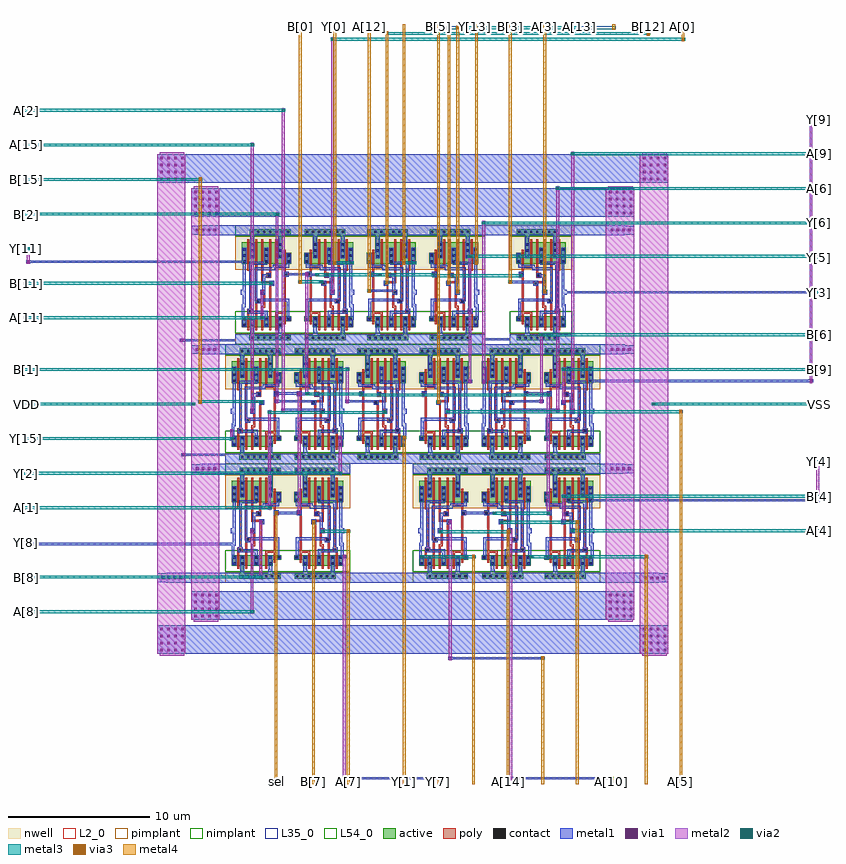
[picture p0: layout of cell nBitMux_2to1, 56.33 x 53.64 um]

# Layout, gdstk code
from math import pi, radians
import gdstk
lib = gdstk.Library(unit=1e-6, precision=1e-09)
def R(c, l, rs):  # rectangles x0, y0, x1, y1
    for r in rs: c.add(gdstk.rectangle(r[:2], r[2:], *l))
def A(c, l, x, y, w, h, nx, ny, dx, dy):  # array of equal rectangles
    R(c, l, [(x+i*dx, y+j*dy, x+i*dx+w, y+j*dy+h) for i in range(nx) for j in range(ny)])
def P(c, l, *ps):  # polygons
    for p in ps: c.add(gdstk.Polygon(p, *l))
L2_0 = (2, 0)
nwell = (3, 0)
active = (6, 0)
poly = (17, 0)
pimplant = (25, 0)
nimplant = (26, 0)
contact = (30, 0)
metal1 = (31, 0)
metal2 = (32, 0)
metal3 = (33, 0)
metal4 = (34, 0)
L35_0 = (35, 0)
via1 = (51, 0)
via2 = (52, 0)
via3 = (53, 0)
L54_0 = (54, 0)

adk_poly_m1 = lib.new_cell('ADK_poly_m1')
R(adk_poly_m1, poly, [(-0.175,-0.175,0.175,0.175)])
R(adk_poly_m1, contact, [(-0.08,-0.08,0.08,0.08)])
R(adk_poly_m1, metal1, [(-0.175,-0.175,0.175,0.175)])

mux21 = lib.new_cell('mux21')
R(mux21, L2_0, [(0,0,4.41,2.31)])
R(mux21, nwell, [(0,5.25,4.41,8.4)])
P(mux21, nwell, [(0,5.25),(4.41,5.25),(4.41,7.63),(0.575,7.63),(0.575,6.86),(0,6.86)])
R(mux21, active, [(0.5,0.28,3.405,0.63), (3.055,0.63,3.335,0.91), (3.09,0.91,3.335,1.19), (2.985,1.19,3.37,1.96), (3.02,1.19,3.93,1.96), (3.02,1.19,3.405,1.96), (3.545,1.19,3.93,1.96), (0.465,1.61,0.85,1.96), (0.465,5.67,0.85,6.44), (2.985,5.67,3.37,7.21), (3.02,5.67,3.93,7.21), (3.02,5.67,3.405,7.21), (3.545,5.67,3.93,7.21), (1.06,7.21,1.375,7.575), (3.055,7.21,3.335,7.575), (1.06,7.575,1.41,7.77), (3.02,7.575,3.37,7.77), (0.5,7.77,3.37,8.12)])
P(mux21, active, [(3.37,1.19),(3.37,1.96),(0.465,1.96),(0.465,1.61),(1.06,1.61),(1.06,1.19)],
  [(3.37,5.67),(3.37,7.21),(1.06,7.21),(1.06,6.44),(0.465,6.44),(0.465,5.67)])
R(mux21, poly, [(1.445,0.98,1.585,1.19), (1.865,0.98,2.005,1.19), (2.425,0.98,2.565,1.19), (2.845,0.98,2.985,1.19), (3.405,0.98,3.545,1.19), (1.445,1.19,1.585,1.96), (1.865,1.19,2.005,1.96), (2.425,1.19,2.565,1.96), (2.845,1.19,2.985,1.96), (3.405,1.19,3.545,1.96), (0.85,1.4,0.99,1.61), (0.85,1.61,0.99,1.96), (0.85,1.96,0.99,2.17), (1.445,1.96,1.585,2.17), (1.865,1.96,2.005,2.17), (2.425,1.96,2.565,2.17), (2.845,1.96,2.985,2.17), (3.405,1.96,3.545,2.17), (0.85,2.135,0.99,5.495), (0.99,2.135,1.585,2.275), (1.865,2.135,2.005,4.13), (2.845,2.135,2.985,5.495), (1.865,4.705,2.215,5.055), (1.865,4.705,2.005,5.495), (0.99,5.355,1.585,5.495), (0.85,5.46,0.99,5.67), (1.445,5.46,1.585,5.67), (1.865,5.46,2.005,5.67), (2.425,5.46,2.565,5.67), (2.845,5.46,2.985,5.67), (3.405,5.46,3.545,5.67), (0.85,5.67,0.99,6.44), (1.445,5.67,1.585,7.21), (1.865,5.67,2.005,7.21), (2.425,5.67,2.565,7.21), (2.845,5.67,2.985,7.21), (3.405,5.67,3.545,7.21), (0.85,6.44,0.99,6.65), (1.445,7.21,1.585,7.42), (1.865,7.21,2.005,7.42), (2.425,7.21,2.565,7.42), (2.845,7.21,2.985,7.42), (3.405,7.21,3.545,7.42)])
P(mux21, poly, [(2.285,2.565),(2.425,2.565),(2.425,2.03),(2.565,2.03),(2.565,2.705),(2.425,2.705),(2.425,3.745),(2.285,3.745)],
  [(2.005,4.32),(2.565,4.32),(2.565,5.495),(2.425,5.495),(2.425,4.46),(2.005,4.46)],
  [(3.255,2.35),(3.405,2.35),(3.405,2.03),(3.545,2.03),(3.545,2.49),(3.395,2.49),(3.395,5.175),(3.545,5.175),(3.545,5.6),(3.405,5.6),(3.405,5.315),(3.255,5.315)])
R(mux21, pimplant, [(0,0,4.41,0.77), (0,5.25,4.41,7.63)])
R(mux21, nimplant, [(0,0.77,4.41,2.31), (0,7.63,4.41,8.4)])
A(mux21, contact, 0.595, 0.375, 0.16, 0.16, 7, 2, 0.42, 7.49)
A(mux21, contact, 1.155, 1.285, 0.16, 0.16, 3, 2, 0.98, 0.42)
A(mux21, contact, 2.135, 5.765, 0.16, 0.16, 1, 3, 0, 0.42)
A(mux21, contact, 3.675, 5.765, 0.16, 0.16, 1, 3, 0, 0.42)
A(mux21, contact, 1.155, 6.115, 0.16, 0.16, 1, 3, 0, 0.42)
R(mux21, contact, [(3.115,1.285,3.275,1.445), (3.675,1.285,3.835,1.445), (0.56,1.705,0.72,1.865), (3.115,1.705,3.275,1.865), (3.675,1.705,3.835,1.865), (1.96,4.8,2.12,4.96), (0.56,5.765,0.72,5.925), (3.115,6.115,3.275,6.275), (3.115,6.115,3.275,6.275), (0.56,6.185,0.72,6.345), (3.115,6.535,3.275,6.695), (3.115,6.535,3.275,6.695), (3.115,6.955,3.275,7.115), (3.115,6.955,3.275,7.115)])
A(mux21, metal1, 1.095, 1.225, 0.28, 0.7, 3, 1, 0.98, 0)
R(mux21, metal1, [(0,0,4.41,0.7), (1.095,0.7,1.375,0.91), (3.055,0.7,3.335,0.91), (3.055,0.875,3.335,1.225), (1.095,0.91,1.34,1.225), (3.055,1.225,3.335,1.925), (3.615,1.225,3.895,1.925), (0.5,1.645,0.78,1.925), (2.285,3.5,2.635,3.85), (3.655,3.5,4.005,3.85), (1.655,4.13,2.005,4.48), (1.9,4.74,2.18,5.02), (0.64,4.76,0.99,5.11), (0.5,5.705,0.78,6.405), (2.075,5.705,2.355,6.825), (3.615,5.705,3.895,6.825), (1.095,6.055,1.375,7.175), (3.055,6.055,3.335,7.175), (3.055,6.055,3.335,7.175), (1.095,7.175,1.34,7.525), (3.055,7.175,3.335,7.525), (1.095,7.525,1.375,7.7), (3.055,7.525,3.335,7.7), (0,7.7,4.41,8.4)])
P(mux21, metal1, [(2.11,1.715),(2.32,1.715),(2.32,2.155),(3.43,2.155),(3.43,5.835),(2.355,5.835),(2.355,5.705),(2.145,5.705),(2.145,5.625),(3.22,5.625),(3.22,2.365),(2.11,2.365)],
  [(1.565,5.235),(2.84,5.235),(2.84,4.205),(3.04,4.205),(3.04,5.435),(1.765,5.435),(1.765,5.605),(1.565,5.605)],
  [(2.18,4.74),(2.285,4.74),(2.285,3.85),(2.495,3.85),(2.495,4.95),(2.18,4.95)],
  [(0.58,5.405),(1.765,5.405),(1.765,5.605),(0.78,5.605),(0.78,5.905),(0.58,5.905)],
  [(0.58,1.725),(0.78,1.725),(0.78,3.02),(3.04,3.02),(3.04,4.33),(2.84,4.33),(2.84,3.22),(0.58,3.22)],
  [(3.655,2.625),(3.75,2.625),(3.75,1.725),(3.95,1.725),(3.95,2.825),(3.855,2.825),(3.855,5.905),(3.655,5.905)])
mux21.add(gdstk.Reference(adk_poly_m1, (3.35,2.325), rotation=pi))
mux21.add(gdstk.Reference(adk_poly_m1, (2.81,3.05), rotation=pi))
mux21.add(gdstk.Reference(adk_poly_m1, (2.46,3.675), rotation=pi))
mux21.add(gdstk.Reference(adk_poly_m1, (1.83,4.305), rotation=pi))
mux21.add(gdstk.Reference(adk_poly_m1, (0.815,4.935), rotation=pi))
mux21.add(gdstk.Label('VDD', (2.205,8.05), layer=131, texttype=0))
mux21.add(gdstk.Label('VSS', (2.205,0.35), layer=131, texttype=0))
mux21.add(gdstk.Label('Y', (3.83,3.675), layer=131, texttype=0))
mux21.add(gdstk.Label('S0', (0.815,4.935), layer=131, texttype=0))
mux21.add(gdstk.Label('A1', (1.83,4.305), layer=131, texttype=0))
mux21.add(gdstk.Label('A0', (2.46,3.675), layer=131, texttype=0))

nbitmux_2to1 = lib.new_cell('nBitMux_2to1')
A(nbitmux_2to1, metal1, -2.38, 7.77, 2, 0.62, 1, 3, 0, 8.42)
A(nbitmux_2to1, metal1, 26.88, 7.77, 2, 0.62, 1, 3, 0, 8.42)
A(nbitmux_2to1, metal1, 8.835, 22.485, 0.21, 0.29, 3, 1, 4.41, 0)
R(nbitmux_2to1, metal1, [(8.285,-13.875,8.575,-13.665), (14.965,-13.875,15.255,-13.665), (20.03,-13.875,20.32,-13.665), (27.165,-13.875,27.455,-13.665), (8.35,-13.85,15.19,-13.69), (20.095,-13.85,27.39,-13.69), (15.755,-5.4,16.045,-5.19), (22.285,-5.4,22.575,-5.19), (15.82,-5.375,22.51,-5.215), (-4.78,-4.93,-2.78,-3.01), (29.28,-4.93,31.28,-3.01), (-2.38,-2.53,-0.38,-0.61), (26.88,-2.53,28.88,-0.61), (8.84,0.03,13.25,0.73), (-4.78,0.07,-2.78,0.69), (29.28,0.07,31.28,0.69), (8.285,1.755,8.575,1.965), (13.805,1.755,14.095,1.965), (21.515,1.755,21.805,1.965), (-14.03,2.67,-13.74,2.88), (-13.965,2.695,0.56,2.855), (1.81,3.53,2.02,3.82), (6.84,3.53,7.05,3.82), (15.085,3.53,15.375,3.74), (20.07,3.53,20.28,3.82), (24.415,3.6,24.705,3.81), (2.425,4.16,2.635,4.45), (6.155,4.16,6.365,4.45), (15.795,4.16,16.005,4.45), (19.455,4.16,19.665,4.45), (23.785,4.3,24.075,4.51), (3.51,4.79,3.72,5.08), (22.71,4.795,22.92,5.085), (18.915,4.835,19.205,5.045), (18.57,4.86,19.14,5.02), (3.71,4.885,5.15,5.045), (16.94,4.885,18.38,5.045), (5.1,4.93,5.39,5.14), (41.71,5.75,42,5.96), (25.845,5.775,41.935,5.935), (-3.065,8.965,-2.775,9.175), (-3,8.99,0.1,9.15), (7.995,10.175,8.285,10.385), (12.525,10.175,12.815,10.385), (0.365,10.595,0.575,10.885), (11.125,11.95,11.415,12.16), (15.66,11.95,15.87,12.24), (1.795,12.09,2.085,12.3), (24.415,12.09,24.705,12.3), (3.98,12.115,4.27,12.325), (23.34,12.115,23.63,12.325), (4.045,12.14,6.795,12.3), (19.705,12.14,23.565,12.3), (2.425,12.72,2.715,12.93), (14.935,12.72,15.225,12.93), (23.785,12.72,24.075,12.93), (3.535,12.745,3.825,12.955), (8.505,12.745,8.795,12.955), (22.2,12.745,22.49,12.955), (3.6,12.77,6.165,12.93), (8.57,12.77,10.575,12.93), (20.335,12.77,22.425,12.93), (13.89,13.145,14.1,13.435), (22.71,13.145,22.92,13.435), (5.14,13.21,5.35,13.5), (9.48,13.215,9.69,13.505), (5.685,13.255,5.975,13.465), (5.34,13.28,5.91,13.44), (3.71,13.305,5.15,13.465), (21.35,13.305,22.79,13.465), (18.165,14.065,18.375,14.355), (17.155,14.145,17.445,14.355), (17.025,14.17,17.38,14.33), (41.225,14.17,41.515,14.38), (25.845,14.195,41.45,14.355), (-3.17,17.045,-2.88,17.255), (-3.105,17.07,0.805,17.23), (18.285,17.14,20.195,17.3), (2.515,20.37,2.725,20.66), (41.71,20.44,42,20.65), (24.04,20.465,41.935,20.625), (7.48,20.51,7.77,20.72), (16.3,20.51,16.59,20.72), (22.43,20.51,22.72,20.72), (10.055,20.535,10.345,20.745), (10.12,20.56,11.91,20.72), (3.13,21.03,3.34,21.32), (11.3,21.14,11.59,21.35), (15.67,21.14,15.96,21.35), (19.99,21.16,20.28,21.37), (6.645,21.165,6.935,21.375), (20.055,21.185,21.85,21.345), (20.755,21.565,20.965,21.855), (14.595,21.635,14.805,21.925), (5.67,21.66,5.88,21.95), (6.39,21.675,6.68,21.885), (10.8,21.675,11.09,21.885), (6.045,21.7,6.615,21.86), (10.455,21.7,11.025,21.86), (4.415,21.725,5.855,21.885), (-14.03,22.59,-13.74,22.8), (-13.965,22.615,1.36,22.775), (18.365,24.57,20.115,25.27), (-2.38,25.87,28.88,27.87), (-2.38,25.91,-0.38,27.83), (26.88,25.91,28.88,27.83), (-4.78,28.27,31.28,30.27), (-4.78,28.31,-2.78,30.23), (29.28,28.31,31.28,30.23)])
A(nbitmux_2to1, metal2, -2.19, 7.58, 1.72, 1, 1, 3, 0, 8.42)
A(nbitmux_2to1, metal2, 27.07, 7.58, 1.72, 1, 1, 3, 0, 8.42)
R(nbitmux_2to1, metal2, [(8.325,-13.915,8.535,-13.625), (20.07,-13.915,20.28,-13.625), (14.965,-13.875,15.255,-13.665), (14.965,-13.875,15.255,-13.665), (27.165,-13.875,27.455,-13.665), (27.165,-13.875,27.455,-13.665), (8.33,-13.87,8.53,1.96), (20.075,-13.87,20.275,3.775), (15.795,-5.44,16.005,-5.15), (22.285,-5.4,22.575,-5.19), (22.285,-5.4,22.575,-5.19), (15.8,-5.395,16,4.405), (-4.59,-5.12,-2.87,-2.82), (29.47,-5.12,31.19,-2.82), (-4.78,-4.97,-2.78,30.27), (-2.19,-2.72,-0.47,-0.42), (27.07,-2.72,28.79,-0.42), (-2.38,-2.57,-0.38,27.87), (1.81,-2.155,2.02,-1.865), (1.815,-2.11,2.015,3.775), (-4.59,-0.12,-2.87,0.88), (29.47,-0.12,31.19,0.88), (2.425,0.29,2.635,0.58), (2.43,0.335,2.63,4.405), (8.325,1.715,8.535,2.005), (13.805,1.755,14.095,1.965), (13.805,1.755,14.095,1.965), (21.515,1.755,21.805,1.965), (21.515,1.755,21.805,1.965), (-14.03,2.67,-13.74,2.88), (-14.03,2.67,-13.74,2.88), (1.81,3.53,2.02,3.82), (6.84,3.53,7.05,3.82), (6.84,3.53,7.05,3.82), (15.085,3.53,15.375,3.74), (15.085,3.53,15.375,3.74), (20.07,3.53,20.28,3.82), (24.415,3.6,24.705,3.81), (24.415,3.6,24.705,3.81), (2.425,4.16,2.635,4.45), (6.155,4.16,6.365,4.45), (6.155,4.16,6.365,4.45), (15.795,4.16,16.005,4.45), (19.455,4.16,19.665,4.45), (19.455,4.16,19.665,4.45), (23.825,4.26,24.035,4.55), (23.83,4.305,24.03,6.245), (3.51,4.79,3.72,5.08), (3.51,4.79,3.72,5.08), (22.71,4.795,22.92,5.085), (22.71,4.795,22.92,5.085), (18.915,4.835,19.205,5.045), (18.915,4.835,19.205,5.045), (5.14,4.89,5.35,5.18), (5.145,4.935,5.345,13.455), (22.715,4.985,22.915,13.245), (3.05,5.175,3.26,5.465), (3.055,5.22,3.255,12.155), (41.75,5.71,41.96,6), (41.755,5.755,41.955,8.64), (23.825,6,24.035,6.29), (8.035,7.62,8.245,7.91), (8.04,7.665,8.24,10.38), (41.75,8.395,41.96,8.685), (-3.025,8.925,-2.815,9.215), (0.365,10.065,0.575,10.355), (0.37,10.11,0.57,10.84), (8.035,10.135,8.245,10.425), (12.525,10.175,12.815,10.385), (12.525,10.175,12.815,10.385), (0.365,10.595,0.575,10.885), (3.05,11.91,3.26,12.2), (11.125,11.95,11.415,12.16), (11.125,11.95,11.415,12.16), (15.66,11.95,15.87,12.24), (15.66,11.95,15.87,12.24), (1.835,12.05,2.045,12.34), (24.455,12.05,24.665,12.34), (4.02,12.075,4.23,12.365), (23.38,12.075,23.59,12.365), (1.84,12.095,2.04,31.035), (24.46,12.095,24.66,30.405), (4.025,12.12,4.225,33.475), (23.385,12.12,23.585,27.965), (-2.345,12.505,-2.135,12.795), (30.175,12.505,30.385,12.795), (23.825,12.68,24.035,12.97), (3.575,12.705,3.785,12.995), (8.545,12.705,8.755,12.995), (22.24,12.705,22.45,12.995), (2.425,12.72,2.715,12.93), (2.425,12.72,2.715,12.93), (14.935,12.72,15.225,12.93), (14.935,12.72,15.225,12.93), (23.83,12.725,24.03,15.19), (3.58,12.75,3.78,26.155), (8.55,12.75,8.75,15.19), (22.245,12.75,22.445,17.63), (13.89,13.145,14.1,13.435), (13.89,13.145,14.1,13.435), (22.71,13.145,22.92,13.435), (22.71,13.145,22.92,13.435), (5.14,13.21,5.35,13.5), (9.48,13.215,9.69,13.505), (9.48,13.215,9.69,13.505), (5.685,13.255,5.975,13.465), (5.685,13.255,5.975,13.465), (5.675,13.265,5.875,21.905), (18.165,14.065,18.375,14.355), (17.195,14.105,17.405,14.395), (18.17,14.11,18.37,25.525), (41.265,14.13,41.475,14.42), (17.2,14.15,17.4,23.185), (41.27,14.175,41.47,32.845), (8.545,14.945,8.755,15.235), (23.825,14.945,24.035,15.235), (-3.13,17.005,-2.92,17.295), (22.24,17.385,22.45,17.675), (2.515,18.59,2.725,18.88), (2.52,18.635,2.72,20.615), (2.515,20.37,2.725,20.66), (41.71,20.44,42,20.65), (41.71,20.44,42,20.65), (7.52,20.47,7.73,20.76), (16.3,20.51,16.59,20.72), (16.3,20.51,16.59,20.72), (22.43,20.51,22.72,20.72), (22.43,20.51,22.72,20.72), (7.525,20.515,7.725,38.485), (10.055,20.535,10.345,20.745), (10.055,20.535,10.345,20.745), (3.13,21.03,3.34,21.32), (3.13,21.03,3.34,21.32), (11.3,21.14,11.59,21.35), (11.3,21.14,11.59,21.35), (15.67,21.14,15.96,21.35), (15.67,21.14,15.96,21.35), (19.99,21.16,20.28,21.37), (19.99,21.16,20.28,21.37), (6.645,21.165,6.935,21.375), (6.645,21.165,6.935,21.375), (20.755,21.565,20.965,21.855), (20.755,21.565,20.965,21.855), (14.595,21.635,14.805,21.925), (14.595,21.635,14.805,21.925), (5.67,21.66,5.88,21.95), (6.39,21.675,6.68,21.885), (6.39,21.675,6.68,21.885), (10.8,21.675,11.09,21.885), (10.8,21.675,11.09,21.885), (8.835,22.485,9.045,22.775), (8.835,22.485,9.045,22.775), (13.245,22.485,13.455,22.775), (13.245,22.485,13.455,22.775), (17.655,22.485,17.865,22.775), (17.655,22.485,17.865,22.775), (-13.99,22.55,-13.78,22.84), (-13.985,22.595,-13.785,23.67), (17.195,22.94,17.405,23.23), (-13.99,23.425,-13.78,23.715), (18.165,25.28,18.375,25.57), (-2.19,25.72,-0.47,28.02), (27.07,25.72,28.79,28.02), (3.575,25.91,3.785,26.2), (23.38,27.72,23.59,28.01), (-4.59,28.12,-2.87,30.42), (29.47,28.12,31.19,30.42), (24.455,30.16,24.665,30.45), (1.835,30.79,2.045,31.08), (41.265,32.6,41.475,32.89), (4.02,33.23,4.23,33.52), (7.52,38.24,7.73,38.53)])
A(nbitmux_2to1, metal3, -14.18, -2.11, 0.4, 0.2, 1, 3, 0, 2.445)
A(nbitmux_2to1, metal3, 41.75, 3.605, 0.4, 0.2, 1, 3, 0, 2.44)
A(nbitmux_2to1, metal3, -14.18, 5.22, 0.4, 0.2, 1, 3, 0, 2.445)
A(nbitmux_2to1, metal3, -14.18, 18.635, 0.4, 0.2, 1, 7, 0, 2.44)
A(nbitmux_2to1, metal3, 41.75, 20.445, 0.4, 0.2, 1, 6, 0, 2.44)
R(nbitmux_2to1, metal3, [(14.965,-13.875,15.255,-13.665), (14.965,-13.875,15.255,-13.665), (27.165,-13.875,27.455,-13.665), (27.165,-13.875,27.455,-13.665), (22.285,-5.4,22.575,-5.19), (22.285,-5.4,22.575,-5.19), (1.77,-2.115,2.06,-1.905), (-13.88,-2.11,2.015,-1.91), (2.385,0.33,2.675,0.54), (-13.88,0.335,2.63,0.535), (13.805,1.755,14.095,1.965), (17.405,1.755,17.695,1.965), (21.515,1.755,21.805,1.965), (29.605,1.755,29.895,1.965), (13.85,1.76,17.65,1.96), (21.56,1.76,29.85,1.96), (-13.99,2.63,-13.78,2.92), (15.085,3.53,15.375,3.74), (19.845,3.53,20.135,3.74), (15.13,3.535,20.09,3.735), (6.8,3.57,7.09,3.78), (8.555,3.57,8.845,3.78), (6.845,3.575,8.8,3.775), (24.415,3.6,24.705,3.81), (24.46,3.605,41.85,3.805), (6.155,4.16,6.365,4.45), (6.155,4.16,6.365,4.45), (19.415,4.2,19.705,4.41), (24.725,4.2,25.015,4.41), (19.46,4.205,24.97,4.405), (3.51,4.79,3.72,5.08), (3.51,4.79,3.72,5.08), (18.915,4.835,19.205,5.045), (22.67,4.835,22.96,5.045), (18.96,4.84,22.915,5.04), (3.01,5.215,3.3,5.425), (-13.88,5.22,3.255,5.42), (23.785,6.04,24.075,6.25), (23.83,6.045,41.85,6.245), (7.995,7.66,8.285,7.87), (-13.88,7.665,8.24,7.865), (41.75,8.395,41.96,8.685), (0.325,10.105,0.615,10.315), (-13.88,10.11,0.57,10.31), (12.525,10.175,12.815,10.385), (12.525,10.175,12.815,10.385), (3.01,11.95,3.3,12.16), (11.125,11.95,11.415,12.16), (3.055,11.955,11.37,12.155), (15.62,11.99,15.91,12.2), (32.045,11.99,32.335,12.2), (15.665,11.995,32.29,12.195), (-14.18,12.43,-13.78,12.87), (41.75,12.43,42.15,12.87), (-2.385,12.545,-2.095,12.755), (30.135,12.545,30.425,12.755), (-13.88,12.55,-2.14,12.75), (30.18,12.55,41.85,12.75), (-1.885,12.72,-1.595,12.93), (2.425,12.72,2.715,12.93), (14.935,12.72,15.225,12.93), (14.935,12.72,15.225,12.93), (-1.84,12.725,2.67,12.925), (13.85,13.185,14.14,13.395), (22.67,13.185,22.96,13.395), (9.53,13.19,14.095,13.39), (14.04,13.19,22.915,13.39), (5.685,13.255,5.975,13.465), (9.44,13.255,9.73,13.465), (5.73,13.26,9.685,13.46), (8.505,14.985,8.795,15.195), (23.785,14.985,24.075,15.195), (-14.18,14.99,-13.78,15.19), (-13.88,14.99,8.75,15.19), (23.83,14.99,41.85,15.19), (41.75,14.99,42.15,15.19), (22.2,17.425,22.49,17.635), (22.245,17.43,41.85,17.63), (41.75,17.43,42.15,17.63), (2.475,18.63,2.765,18.84), (-13.88,18.635,2.72,18.835), (41.75,20.4,41.96,20.69), (16.3,20.51,16.59,20.72), (16.3,20.51,16.59,20.72), (22.43,20.51,22.72,20.72), (22.43,20.51,22.72,20.72), (10.055,20.535,10.345,20.745), (10.055,20.535,10.345,20.745), (3.09,21.07,3.38,21.28), (-13.88,21.075,3.335,21.275), (11.3,21.14,11.59,21.35), (11.3,21.14,11.59,21.35), (15.67,21.14,15.96,21.35), (15.67,21.14,15.96,21.35), (19.99,21.16,20.28,21.37), (19.99,21.16,20.28,21.37), (5.175,21.165,5.465,21.375), (6.645,21.165,6.935,21.375), (5.22,21.17,6.89,21.37), (20.715,21.605,21.005,21.815), (14.645,21.61,20.96,21.81), (6.39,21.675,6.68,21.885), (10.8,21.675,11.09,21.885), (14.555,21.675,14.845,21.885), (6.435,21.68,11.045,21.88), (10.845,21.68,14.8,21.88), (17.655,22.485,17.865,22.775), (17.655,22.485,17.865,22.775), (7.615,22.525,7.905,22.735), (8.795,22.525,9.085,22.735), (12.495,22.525,12.785,22.735), (13.205,22.525,13.495,22.735), (7.66,22.53,9.04,22.73), (12.54,22.53,13.45,22.73), (17.155,22.98,17.445,23.19), (17.2,22.985,41.95,23.185), (-13.99,23.425,-13.78,23.715), (18.125,25.32,18.415,25.53), (18.17,25.325,41.85,25.525), (3.535,25.95,3.825,26.16), (-13.88,25.955,3.78,26.155), (23.34,27.76,23.63,27.97), (23.385,27.765,41.85,27.965), (-1.885,28.39,-1.595,28.6), (-13.88,28.395,-1.64,28.595), (24.415,30.2,24.705,30.41), (24.46,30.205,41.85,30.405), (1.795,30.83,2.085,31.04), (-13.88,30.835,2.04,31.035), (41.225,32.64,41.515,32.85), (41.27,32.645,41.85,32.845), (3.98,33.27,4.27,33.48), (-13.88,33.275,4.225,33.475), (7.48,38.28,7.77,38.49), (32.19,38.28,32.48,38.49), (7.525,38.285,32.435,38.485), (11.3,38.695,11.59,38.905), (29.75,38.695,30.04,38.905), (11.345,38.7,29.995,38.9), (16.3,39.11,16.59,39.32), (24.865,39.11,25.155,39.32), (16.345,39.115,25.11,39.315)])
A(nbitmux_2to1, metal4, 12.57, -14.17, 0.2, 0.4, 9, 1, 2.44, 0)
A(nbitmux_2to1, metal4, 5.22, 39.07, 0.2, 0.4, 5, 1, 2.44, 0)
A(nbitmux_2to1, metal4, 17.595, 39.07, 0.2, 0.4, 7, 1, 2.44, 0)
R(nbitmux_2to1, metal4, [(3.515,-14.17,3.715,-13.77), (6.16,-14.17,6.36,-13.77), (8.6,-14.17,8.8,-13.77), (15.005,-13.915,15.215,-13.625), (27.205,-13.915,27.415,-13.625), (3.515,-13.87,3.715,5.035), (6.16,-13.87,6.36,4.405), (8.6,-13.87,8.8,3.775), (12.57,-13.87,12.77,10.38), (17.45,-13.87,17.65,1.96), (19.89,-13.87,20.09,3.735), (22.33,-13.87,22.53,-5.195), (24.77,-13.87,24.97,4.405), (29.65,-13.87,29.85,1.96), (32.09,-13.87,32.29,12.195), (22.325,-5.44,22.535,-5.15), (17.445,1.715,17.655,2.005), (29.645,1.715,29.855,2.005), (19.885,3.49,20.095,3.78), (8.595,3.53,8.805,3.82), (6.155,4.16,6.365,4.45), (24.765,4.16,24.975,4.45), (3.51,4.79,3.72,5.08), (12.565,10.135,12.775,10.425), (32.085,11.95,32.295,12.24), (-1.845,12.68,-1.635,12.97), (14.975,12.68,15.185,12.97), (-1.84,12.725,-1.64,28.595), (14.98,12.725,15.18,39.17), (16.34,20.47,16.55,20.76), (22.47,20.47,22.68,20.76), (10.095,20.495,10.305,20.785), (16.345,20.515,16.545,39.315), (22.475,20.515,22.675,39.17), (10.1,20.54,10.3,39.17), (11.34,21.1,11.55,21.39), (15.71,21.1,15.92,21.39), (20.03,21.12,20.24,21.41), (5.215,21.125,5.425,21.415), (11.345,21.145,11.545,38.9), (15.715,21.145,15.915,39.315), (20.035,21.165,20.235,39.17), (5.22,21.17,5.42,39.17), (7.655,22.485,7.865,22.775), (12.535,22.485,12.745,22.775), (17.655,22.485,17.865,22.775), (7.66,22.53,7.86,39.17), (12.54,22.53,12.74,39.17), (17.66,22.53,17.86,39.27), (-1.845,28.35,-1.635,28.64), (32.23,38.24,32.44,38.53), (32.235,38.285,32.435,39.17), (11.34,38.655,11.55,38.945), (29.79,38.655,30,38.945), (29.795,38.7,29.995,39.17), (15.71,39.07,15.92,39.36), (16.34,39.07,16.55,39.36), (24.905,39.07,25.115,39.36), (27.345,39.07,27.555,39.36)])
R(nbitmux_2to1, L35_0, [(15.67,39.11,15.96,39.32), (27.305,39.11,27.595,39.32), (15.715,39.115,27.55,39.315)])
A(nbitmux_2to1, via1, -4.56, -4.8, 0.19, 0.19, 4, 4, 0.49, 0.49)
A(nbitmux_2to1, via1, 29.5, -4.8, 0.19, 0.19, 4, 4, 0.49, 0.49)
A(nbitmux_2to1, via1, -2.16, -2.4, 0.19, 0.19, 4, 4, 0.49, 0.49)
A(nbitmux_2to1, via1, 27.1, -2.4, 0.19, 0.19, 4, 4, 0.49, 0.49)
A(nbitmux_2to1, via1, -4.44, 0.285, 0.19, 0.19, 4, 1, 0.41, 0)
A(nbitmux_2to1, via1, 29.62, 0.285, 0.19, 0.19, 4, 1, 0.41, 0)
A(nbitmux_2to1, via1, -2.04, 7.985, 0.19, 0.19, 4, 3, 0.41, 8.42)
A(nbitmux_2to1, via1, 27.22, 7.985, 0.19, 0.19, 4, 3, 0.41, 8.42)
A(nbitmux_2to1, via1, 8.845, 22.535, 0.19, 0.19, 3, 1, 4.41, 0)
A(nbitmux_2to1, via1, -2.16, 26.04, 0.19, 0.19, 4, 4, 0.49, 0.49)
A(nbitmux_2to1, via1, 27.1, 26.04, 0.19, 0.19, 4, 4, 0.49, 0.49)
A(nbitmux_2to1, via1, -4.56, 28.44, 0.19, 0.19, 4, 4, 0.49, 0.49)
A(nbitmux_2to1, via1, 29.5, 28.44, 0.19, 0.19, 4, 4, 0.49, 0.49)
R(nbitmux_2to1, via1, [(8.335,-13.865,8.525,-13.675), (15.015,-13.865,15.205,-13.675), (20.08,-13.865,20.27,-13.675), (27.215,-13.865,27.405,-13.675), (15.805,-5.39,15.995,-5.2), (22.335,-5.39,22.525,-5.2), (8.335,1.765,8.525,1.955), (13.855,1.765,14.045,1.955), (21.565,1.765,21.755,1.955), (-13.98,2.68,-13.79,2.87), (15.135,3.54,15.325,3.73), (1.82,3.58,2.01,3.77), (6.85,3.58,7.04,3.77), (20.08,3.58,20.27,3.77), (24.465,3.61,24.655,3.8), (2.435,4.21,2.625,4.4), (6.165,4.21,6.355,4.4), (15.805,4.21,15.995,4.4), (19.465,4.21,19.655,4.4), (23.835,4.31,24.025,4.5), (3.52,4.84,3.71,5.03), (18.965,4.845,19.155,5.035), (22.72,4.845,22.91,5.035), (5.15,4.94,5.34,5.13), (41.76,5.76,41.95,5.95), (-3.015,8.975,-2.825,9.165), (8.045,10.185,8.235,10.375), (12.575,10.185,12.765,10.375), (0.375,10.645,0.565,10.835), (11.175,11.96,11.365,12.15), (15.67,12,15.86,12.19), (1.845,12.1,2.035,12.29), (24.465,12.1,24.655,12.29), (4.03,12.125,4.22,12.315), (23.39,12.125,23.58,12.315), (2.475,12.73,2.665,12.92), (14.985,12.73,15.175,12.92), (23.835,12.73,24.025,12.92), (3.585,12.755,3.775,12.945), (8.555,12.755,8.745,12.945), (22.25,12.755,22.44,12.945), (13.9,13.195,14.09,13.385), (22.72,13.195,22.91,13.385), (5.15,13.26,5.34,13.45), (5.735,13.265,5.925,13.455), (9.49,13.265,9.68,13.455), (18.175,14.115,18.365,14.305), (17.205,14.155,17.395,14.345), (41.275,14.18,41.465,14.37), (-3.12,17.055,-2.93,17.245), (2.525,20.42,2.715,20.61), (41.76,20.45,41.95,20.64), (7.53,20.52,7.72,20.71), (16.35,20.52,16.54,20.71), (22.48,20.52,22.67,20.71), (10.105,20.545,10.295,20.735), (3.14,21.08,3.33,21.27), (11.35,21.15,11.54,21.34), (15.72,21.15,15.91,21.34), (20.04,21.17,20.23,21.36), (6.695,21.175,6.885,21.365), (20.765,21.615,20.955,21.805), (6.44,21.685,6.63,21.875), (10.85,21.685,11.04,21.875), (14.605,21.685,14.795,21.875), (5.68,21.71,5.87,21.9), (-13.98,22.6,-13.79,22.79)])
A(nbitmux_2to1, via2, 8.845, 22.535, 0.19, 0.19, 3, 1, 4.41, 0)
R(nbitmux_2to1, via2, [(15.015,-13.865,15.205,-13.675), (27.215,-13.865,27.405,-13.675), (22.335,-5.39,22.525,-5.2), (1.82,-2.105,2.01,-1.915), (2.435,0.34,2.625,0.53), (13.855,1.765,14.045,1.955), (21.565,1.765,21.755,1.955), (-13.98,2.68,-13.79,2.87), (15.135,3.54,15.325,3.73), (6.85,3.58,7.04,3.77), (24.465,3.61,24.655,3.8), (6.165,4.21,6.355,4.4), (19.465,4.21,19.655,4.4), (3.52,4.84,3.71,5.03), (18.965,4.845,19.155,5.035), (22.72,4.845,22.91,5.035), (3.06,5.225,3.25,5.415), (23.835,6.05,24.025,6.24), (8.045,7.67,8.235,7.86), (41.76,8.445,41.95,8.635), (0.375,10.115,0.565,10.305), (12.575,10.185,12.765,10.375), (3.06,11.96,3.25,12.15), (11.175,11.96,11.365,12.15), (15.67,12,15.86,12.19), (-2.335,12.555,-2.145,12.745), (30.185,12.555,30.375,12.745), (2.475,12.73,2.665,12.92), (14.985,12.73,15.175,12.92), (13.9,13.195,14.09,13.385), (22.72,13.195,22.91,13.385), (5.735,13.265,5.925,13.455), (9.49,13.265,9.68,13.455), (8.555,14.995,8.745,15.185), (23.835,14.995,24.025,15.185), (22.25,17.435,22.44,17.625), (2.525,18.64,2.715,18.83), (41.76,20.45,41.95,20.64), (16.35,20.52,16.54,20.71), (22.48,20.52,22.67,20.71), (10.105,20.545,10.295,20.735), (3.14,21.08,3.33,21.27), (11.35,21.15,11.54,21.34), (15.72,21.15,15.91,21.34), (20.04,21.17,20.23,21.36), (6.695,21.175,6.885,21.365), (20.765,21.615,20.955,21.805), (6.44,21.685,6.63,21.875), (10.85,21.685,11.04,21.875), (14.605,21.685,14.795,21.875), (17.205,22.99,17.395,23.18), (-13.98,23.475,-13.79,23.665), (18.175,25.33,18.365,25.52), (3.585,25.96,3.775,26.15), (23.39,27.77,23.58,27.96), (24.465,30.21,24.655,30.4), (1.845,30.84,2.035,31.03), (41.275,32.65,41.465,32.84), (4.03,33.28,4.22,33.47), (7.53,38.29,7.72,38.48)])
R(nbitmux_2to1, via3, [(15.015,-13.865,15.205,-13.675), (27.215,-13.865,27.405,-13.675), (22.335,-5.39,22.525,-5.2), (17.455,1.765,17.645,1.955), (29.655,1.765,29.845,1.955), (19.895,3.54,20.085,3.73), (8.605,3.58,8.795,3.77), (6.165,4.21,6.355,4.4), (24.775,4.21,24.965,4.4), (3.52,4.84,3.71,5.03), (12.575,10.185,12.765,10.375), (32.095,12,32.285,12.19), (-1.835,12.73,-1.645,12.92), (14.985,12.73,15.175,12.92), (16.35,20.52,16.54,20.71), (22.48,20.52,22.67,20.71), (10.105,20.545,10.295,20.735), (11.35,21.15,11.54,21.34), (15.72,21.15,15.91,21.34), (20.04,21.17,20.23,21.36), (5.225,21.175,5.415,21.365), (7.665,22.535,7.855,22.725), (12.545,22.535,12.735,22.725), (17.665,22.535,17.855,22.725), (-1.835,28.4,-1.645,28.59), (32.24,38.29,32.43,38.48), (11.35,38.705,11.54,38.895), (29.8,38.705,29.99,38.895), (16.35,39.12,16.54,39.31), (24.915,39.12,25.105,39.31)])
R(nbitmux_2to1, L54_0, [(15.72,39.12,15.91,39.31), (27.355,39.12,27.545,39.31)])
nbitmux_2to1.add(gdstk.FlexPath([(27.88,-1.57),(27.88,26.87)], 2, ends="extended", simple_path=True, layer=32, datatype=0))  # metal2
nbitmux_2to1.add(gdstk.FlexPath([(30.28,-3.97),(30.28,29.27)], 2, ends="extended", simple_path=True, layer=32, datatype=0))  # metal2
nbitmux_2to1.add(gdstk.FlexPath([(26.83,0.38),(30.28,0.38)], 0.7, ends="extended", simple_path=True, layer=31, datatype=0))  # metal1
nbitmux_2to1.add(gdstk.FlexPath([(-1.38,24.92),(0.375,24.92)], 0.7, ends="extended", simple_path=True, layer=31, datatype=0))  # metal1
nbitmux_2to1.add(gdstk.FlexPath([(24.875,24.92),(27.88,24.92)], 0.7, ends="extended", simple_path=True, layer=31, datatype=0))  # metal1
nbitmux_2to1.add(gdstk.FlexPath([(-1.38,-1.57),(27.88,-1.57)], 2, ends="extended", simple_path=True, layer=31, datatype=0))  # metal1
nbitmux_2to1.add(gdstk.FlexPath([(-1.38,8.08),(-0.33,8.08)], 0.7, ends="extended", simple_path=True, layer=31, datatype=0))  # metal1
nbitmux_2to1.add(gdstk.FlexPath([(26.83,8.08),(27.88,8.08)], 0.7, ends="extended", simple_path=True, layer=31, datatype=0))  # metal1
nbitmux_2to1.add(gdstk.FlexPath([(-1.38,16.5),(-0.33,16.5)], 0.7, ends="extended", simple_path=True, layer=31, datatype=0))  # metal1
nbitmux_2to1.add(gdstk.FlexPath([(26.83,16.5),(27.88,16.5)], 0.7, ends="extended", simple_path=True, layer=31, datatype=0))  # metal1
nbitmux_2to1.add(gdstk.FlexPath([(-3.78,-3.97),(30.28,-3.97)], 2, ends="extended", simple_path=True, layer=31, datatype=0))  # metal1
nbitmux_2to1.add(gdstk.FlexPath([(-3.78,0.38),(-0.33,0.38)], 0.7, ends="extended", simple_path=True, layer=31, datatype=0))  # metal1
nbitmux_2to1.add(gdstk.Reference(mux21, (4.43,8.45), rotation=pi, x_reflection=True))
nbitmux_2to1.add(gdstk.Reference(mux21, (17.66,0.03), rotation=pi, x_reflection=True))
nbitmux_2to1.add(gdstk.Reference(mux21, (13.955,16.87)))
nbitmux_2to1.add(gdstk.Reference(mux21, (9.545,16.87)))
nbitmux_2to1.add(gdstk.Reference(mux21, (5.135,16.87), rotation=pi, x_reflection=True))
nbitmux_2to1.add(gdstk.Reference(mux21, (17.66,0.03)))
nbitmux_2to1.add(gdstk.Reference(mux21, (22.07,8.45)))
nbitmux_2to1.add(gdstk.Reference(mux21, (4.43,0.03), rotation=pi, x_reflection=True))
nbitmux_2to1.add(gdstk.Reference(mux21, (4.43,0.03)))
nbitmux_2to1.add(gdstk.Reference(mux21, (22.07,8.45), rotation=pi, x_reflection=True))
nbitmux_2to1.add(gdstk.Reference(mux21, (13.25,8.45)))
nbitmux_2to1.add(gdstk.Reference(mux21, (22.07,0.03)))
nbitmux_2to1.add(gdstk.Reference(mux21, (20.115,16.87)))
nbitmux_2to1.add(gdstk.Reference(mux21, (4.43,8.45)))
nbitmux_2to1.add(gdstk.Reference(mux21, (8.84,8.45)))
nbitmux_2to1.add(gdstk.Reference(mux21, (5.135,16.87)))
nbitmux_2to1.add(gdstk.Label('A[5]', (32.19,-13.97), layer=134, texttype=0))
nbitmux_2to1.add(gdstk.Label('A[7]', (8.7,-13.97), layer=134, texttype=0))
nbitmux_2to1.add(gdstk.Label('A[10]', (27.31,-13.97), layer=134, texttype=0))
nbitmux_2to1.add(gdstk.Label('A[14]', (19.99,-13.97), layer=134, texttype=0))
nbitmux_2to1.add(gdstk.Label('B[7]', (6.26,-13.97), layer=134, texttype=0))
nbitmux_2to1.add(gdstk.Label('B[10]', (24.87,-13.97), layer=134, texttype=0))
nbitmux_2to1.add(gdstk.Label('B[14]', (22.43,-13.97), layer=134, texttype=0))
nbitmux_2to1.add(gdstk.Label('Y[1]', (12.67,-13.97), layer=134, texttype=0))
nbitmux_2to1.add(gdstk.Label('Y[7]', (15.11,-13.97), layer=134, texttype=0))
nbitmux_2to1.add(gdstk.Label('Y[10]', (29.75,-13.97), layer=134, texttype=0))
nbitmux_2to1.add(gdstk.Label('Y[14]', (17.55,-13.97), layer=134, texttype=0))
nbitmux_2to1.add(gdstk.Label('sel', (3.615,-13.97), layer=134, texttype=0))
nbitmux_2to1.add(gdstk.Label('VDD', (-13.98,12.65), layer=133, texttype=0))
nbitmux_2to1.add(gdstk.Label('A[1]', (-13.98,5.32), layer=133, texttype=0))
nbitmux_2to1.add(gdstk.Label('A[2]', (-13.98,33.375), layer=133, texttype=0))
nbitmux_2to1.add(gdstk.Label('A[8]', (-13.98,-2.01), layer=133, texttype=0))
nbitmux_2to1.add(gdstk.Label('A[11]', (-13.98,18.735), layer=133, texttype=0))
nbitmux_2to1.add(gdstk.Label('A[15]', (-13.98,30.935), layer=133, texttype=0))
nbitmux_2to1.add(gdstk.Label('B[1]', (-13.98,15.09), layer=133, texttype=0))
nbitmux_2to1.add(gdstk.Label('B[2]', (-13.98,26.055), layer=133, texttype=0))
nbitmux_2to1.add(gdstk.Label('B[8]', (-13.98,0.435), layer=133, texttype=0))
nbitmux_2to1.add(gdstk.Label('B[11]', (-13.98,21.175), layer=133, texttype=0))
nbitmux_2to1.add(gdstk.Label('B[15]', (-13.98,28.495), layer=133, texttype=0))
nbitmux_2to1.add(gdstk.Label('Y[2]', (-13.98,7.765), layer=133, texttype=0))
nbitmux_2to1.add(gdstk.Label('Y[8]', (-13.98,2.88), layer=133, texttype=0))
nbitmux_2to1.add(gdstk.Label('Y[11]', (-13.98,23.615), layer=133, texttype=0))
nbitmux_2to1.add(gdstk.Label('Y[15]', (-13.98,10.21), layer=133, texttype=0))
nbitmux_2to1.add(gdstk.Label('A[0]', (32.335,39.27), layer=134, texttype=0))
nbitmux_2to1.add(gdstk.Label('A[3]', (22.575,39.27), layer=134, texttype=0))
nbitmux_2to1.add(gdstk.Label('A[12]', (10.2,39.27), layer=134, texttype=0))
nbitmux_2to1.add(gdstk.Label('A[13]', (25.015,39.27), layer=134, texttype=0))
nbitmux_2to1.add(gdstk.Label('B[0]', (5.32,39.27), layer=134, texttype=0))
nbitmux_2to1.add(gdstk.Label('B[3]', (20.135,39.27), layer=134, texttype=0))
nbitmux_2to1.add(gdstk.Label('B[5]', (15.08,39.27), layer=134, texttype=0))
nbitmux_2to1.add(gdstk.Label('B[12]', (29.895,39.27), layer=134, texttype=0))
nbitmux_2to1.add(gdstk.Label('B[13]', (27.455,39.27), layer=134, texttype=0))
nbitmux_2to1.add(gdstk.Label('Y[0]', (7.76,39.27), layer=134, texttype=0))
nbitmux_2to1.add(gdstk.Label('Y[12]', (12.64,39.27), layer=134, texttype=0))
nbitmux_2to1.add(gdstk.Label('Y[13]', (17.695,39.27), layer=134, texttype=0))
nbitmux_2to1.add(gdstk.Label('VSS', (41.95,12.65), layer=133, texttype=0))
nbitmux_2to1.add(gdstk.Label('A[4]', (41.95,3.705), layer=133, texttype=0))
nbitmux_2to1.add(gdstk.Label('A[6]', (41.95,27.865), layer=133, texttype=0))
nbitmux_2to1.add(gdstk.Label('A[9]', (41.95,30.305), layer=133, texttype=0))
nbitmux_2to1.add(gdstk.Label('B[4]', (41.95,6.145), layer=133, texttype=0))
nbitmux_2to1.add(gdstk.Label('B[6]', (41.95,17.53), layer=133, texttype=0))
nbitmux_2to1.add(gdstk.Label('B[9]', (41.95,15.09), layer=133, texttype=0))
nbitmux_2to1.add(gdstk.Label('Y[3]', (41.95,20.545), layer=133, texttype=0))
nbitmux_2to1.add(gdstk.Label('Y[4]', (41.95,8.585), layer=133, texttype=0))
nbitmux_2to1.add(gdstk.Label('Y[5]', (41.95,22.985), layer=133, texttype=0))
nbitmux_2to1.add(gdstk.Label('Y[6]', (41.95,25.425), layer=133, texttype=0))
nbitmux_2to1.add(gdstk.Label('Y[9]', (41.95,32.745), layer=133, texttype=0))

lib.write_gds('nBitMux_2to1.gds')
